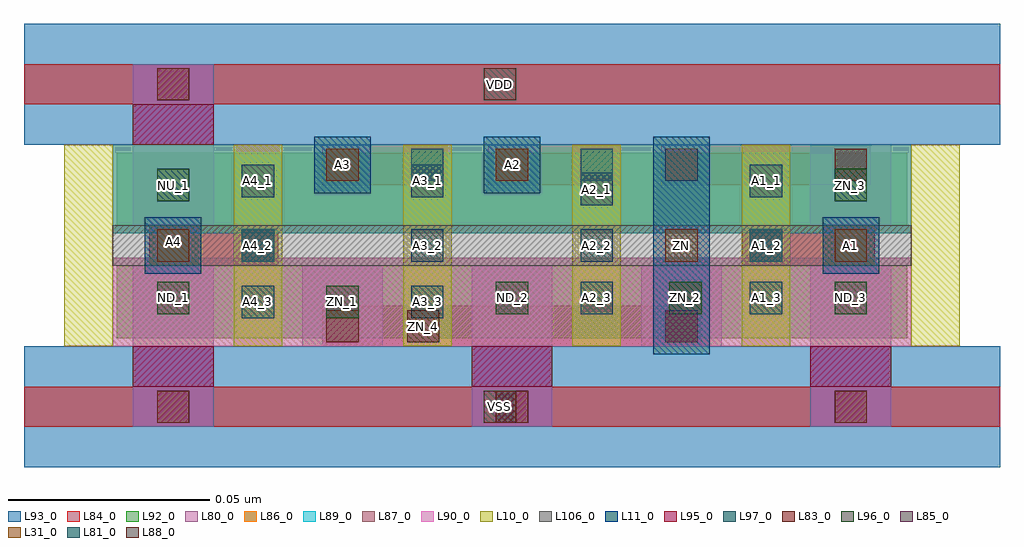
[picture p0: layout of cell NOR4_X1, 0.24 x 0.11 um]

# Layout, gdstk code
import gdstk
lib = gdstk.Library(unit=1e-6, precision=1e-09)
def R(c, l, rs):  # rectangles x0, y0, x1, y1
    for r in rs: c.add(gdstk.rectangle(r[:2], r[2:], *l))
def A(c, l, x, y, w, h, nx, ny, dx, dy):  # array of equal rectangles
    R(c, l, [(x+i*dx, y+j*dy, x+i*dx+w, y+j*dy+h) for i in range(nx) for j in range(ny)])
L10_0 = (10, 0)
L11_0 = (11, 0)
L31_0 = (31, 0)
L80_0 = (80, 0)
L81_0 = (81, 0)
L83_0 = (83, 0)
L84_0 = (84, 0)
L85_0 = (85, 0)
L86_0 = (86, 0)
L87_0 = (87, 0)
L88_0 = (88, 0)
L89_0 = (89, 0)
L90_0 = (90, 0)
L92_0 = (92, 0)
L93_0 = (93, 0)
L95_0 = (95, 0)
L96_0 = (96, 0)
L97_0 = (97, 0)
L106_0 = (106, 0)

nor4_x1 = lib.new_cell('NOR4_X1')
A(nor4_x1, L10_0, -0.027, 0.015, 0.012, 0.05, 6, 1, 0.042, 0)
R(nor4_x1, L11_0, [(0.119,0.013,0.133,0.047), (-0.007,0.033,0.007,0.047), (0.119,0.033,0.133,0.067), (0.161,0.033,0.175,0.047), (0.035,0.053,0.049,0.067), (0.077,0.053,0.091,0.067)])
R(nor4_x1, L31_0, [(-0.004,0.036,0.004,0.044), (0.122,0.036,0.13,0.044), (0.164,0.036,0.172,0.044), (0.038,0.056,0.046,0.064), (0.08,0.056,0.088,0.064)])
A(nor4_x1, L80_0, -0.01, -0.005, 0.02, 0.021, 3, 1, 0.084, 0)
A(nor4_x1, L80_0, -0.01, 0.015, 0.02, 0.02, 5, 1, 0.042, 0)
R(nor4_x1, L80_0, [(-0.01,0.045,0.01,0.065), (-0.01,0.045,0.01,0.065), (0.158,0.045,0.178,0.065), (0.158,0.045,0.178,0.065), (-0.01,0.056,0.01,0.085)])
R(nor4_x1, L81_0, [(0.017,0.036,0.025,0.044), (0.143,0.036,0.151,0.044), (0.059,0.056,0.067,0.064), (0.101,0.056,0.109,0.064)])
A(nor4_x1, L83_0, -0.004, -0.004, 0.008, 0.008, 3, 1, 0.084, 0)
R(nor4_x1, L83_0, [(0.038,0.016,0.046,0.024), (0.122,0.016,0.13,0.024), (0.164,0.056,0.172,0.064), (-0.004,0.076,0.004,0.084)])
A(nor4_x1, L84_0, 0.037, 0.015, 0.031, 0.01, 4, 1, 0.021, 0)
R(nor4_x1, L84_0, [(-0.037,-0.005,0.205,0.005), (-0.006,0.035,0.026,0.045), (0.141,0.035,0.174,0.045), (0.037,0.055,0.068,0.065), (0.078,0.055,0.111,0.065), (0.121,0.055,0.152,0.065), (0.142,0.055,0.173,0.065), (-0.037,0.075,0.205,0.085)])
A(nor4_x1, L85_0, 0.038, 0.056, 0.008, 0.008, 3, 1, 0.042, 0)
R(nor4_x1, L85_0, [(0.122,0.016,0.13,0.024), (-0.004,0.036,0.004,0.044), (0.164,0.036,0.172,0.044)])
R(nor4_x1, L86_0, [(-0.015,0.043,0.183,0.065)])
R(nor4_x1, L87_0, [(-0.015,0.015,0.183,0.037)])
R(nor4_x1, L88_0, [(0.077,-0.004,0.085,0.004), (0.058,0.016,0.066,0.024), (0.077,0.076,0.085,0.084)])
R(nor4_x1, L89_0, [(-0.015,0.043,0.183,0.065)])
R(nor4_x1, L90_0, [(-0.015,0.015,0.183,0.037)])
R(nor4_x1, L92_0, [(-0.014,0.017,0.182,0.035), (-0.014,0.045,0.182,0.063)])
R(nor4_x1, L93_0, [(-0.037,-0.015,0.205,0.015), (-0.037,0.065,0.205,0.095)])
A(nor4_x1, L95_0, -0.01, 0.005, 0.02, 0.01, 3, 1, 0.084, 0)
R(nor4_x1, L95_0, [(-0.01,0.065,0.01,0.075)])
R(nor4_x1, L96_0, [(0.038,0.022,0.046,0.03), (-0.004,0.023,0.004,0.031), (0.08,0.023,0.088,0.031), (0.123,0.023,0.131,0.031), (0.164,0.023,0.172,0.031), (-0.004,0.051,0.004,0.059), (0.164,0.051,0.172,0.059)])
A(nor4_x1, L97_0, 0.017, 0.036, 0.008, 0.008, 4, 1, 0.042, 0)
R(nor4_x1, L97_0, [(0.017,0.022,0.025,0.03), (0.059,0.022,0.067,0.03), (0.101,0.023,0.109,0.031), (0.143,0.023,0.151,0.031), (0.101,0.05,0.109,0.058), (0.017,0.052,0.025,0.06), (0.059,0.052,0.067,0.06), (0.143,0.052,0.151,0.06)])
R(nor4_x1, L106_0, [(-0.015,0.035,0.183,0.045)])
nor4_x1.add(gdstk.Label('ZN_2', (0.127,0.027), layer=96, texttype=0))
nor4_x1.add(gdstk.Label('ZN_3', (0.168,0.055), layer=96, texttype=0))
nor4_x1.add(gdstk.Label('ZN_1', (0.042,0.026), layer=96, texttype=0))
nor4_x1.add(gdstk.Label('ND_3', (0.168,0.027), layer=96, texttype=0))
nor4_x1.add(gdstk.Label('ND_2', (0.084,0.027), layer=96, texttype=0))
nor4_x1.add(gdstk.Label('ND_1', (0,0.027), layer=96, texttype=0))
nor4_x1.add(gdstk.Label('NU_1', (0,0.055), layer=96, texttype=0))
nor4_x1.add(gdstk.Label('ZN_4', (0.062,0.02), layer=88, texttype=0))
nor4_x1.add(gdstk.Label('VSS', (0.081,0), layer=88, texttype=0))
nor4_x1.add(gdstk.Label('VDD', (0.081,0.08), layer=88, texttype=0))
nor4_x1.add(gdstk.Label('A1', (0.168,0.04), layer=31, texttype=0))
nor4_x1.add(gdstk.Label('ZN', (0.126,0.04), layer=31, texttype=0))
nor4_x1.add(gdstk.Label('A2', (0.084,0.06), layer=31, texttype=0))
nor4_x1.add(gdstk.Label('A3', (0.042,0.06), layer=31, texttype=0))
nor4_x1.add(gdstk.Label('A4', (0,0.041), layer=31, texttype=0))
nor4_x1.add(gdstk.Label('A1_3', (0.147,0.027), layer=97, texttype=0))
nor4_x1.add(gdstk.Label('A1_2', (0.147,0.04), layer=97, texttype=0))
nor4_x1.add(gdstk.Label('A1_1', (0.147,0.056), layer=97, texttype=0))
nor4_x1.add(gdstk.Label('A2_3', (0.105,0.027), layer=97, texttype=0))
nor4_x1.add(gdstk.Label('A2_2', (0.105,0.04), layer=97, texttype=0))
nor4_x1.add(gdstk.Label('A2_1', (0.105,0.054), layer=97, texttype=0))
nor4_x1.add(gdstk.Label('A3_3', (0.063,0.026), layer=97, texttype=0))
nor4_x1.add(gdstk.Label('A3_2', (0.063,0.04), layer=97, texttype=0))
nor4_x1.add(gdstk.Label('A3_1', (0.063,0.056), layer=97, texttype=0))
nor4_x1.add(gdstk.Label('A4_3', (0.021,0.026), layer=97, texttype=0))
nor4_x1.add(gdstk.Label('A4_2', (0.021,0.04), layer=97, texttype=0))
nor4_x1.add(gdstk.Label('A4_1', (0.021,0.056), layer=97, texttype=0))

lib.write_gds('NOR4_X1.gds')
